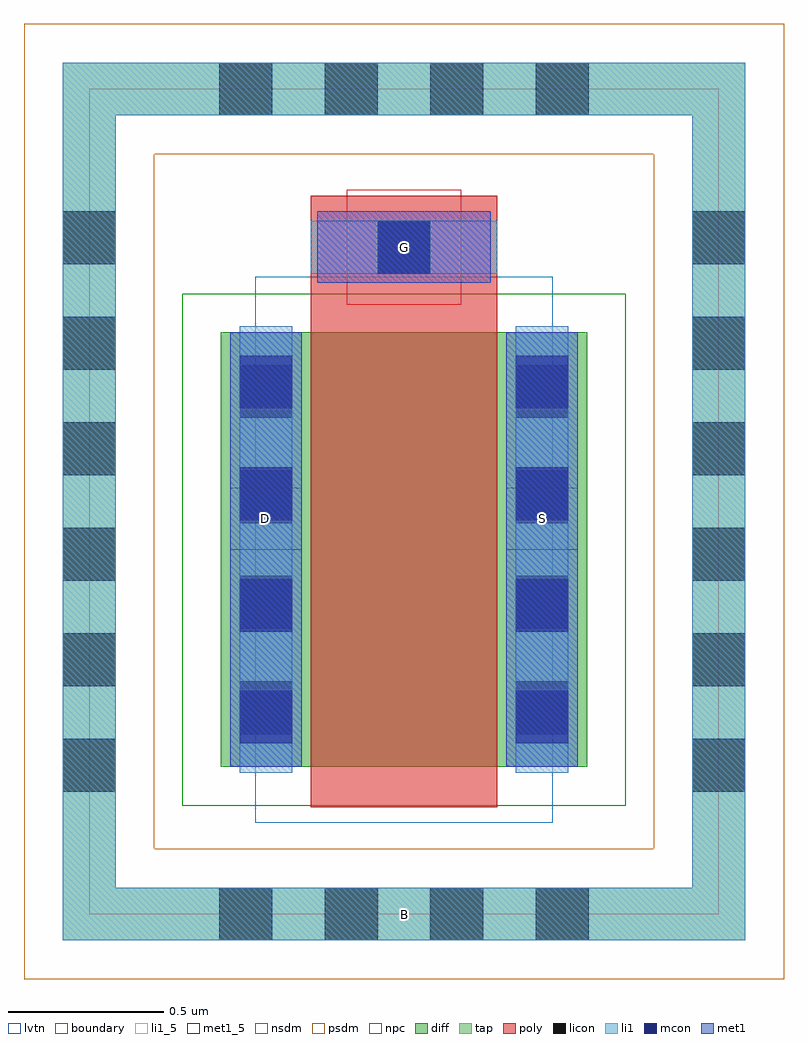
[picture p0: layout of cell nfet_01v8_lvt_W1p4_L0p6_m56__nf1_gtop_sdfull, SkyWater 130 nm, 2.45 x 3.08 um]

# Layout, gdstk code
import gdstk
lib = gdstk.Library(unit=1e-6, precision=1e-09)
def R(c, l, rs):  # rectangles x0, y0, x1, y1
    for r in rs: c.add(gdstk.rectangle(r[:2], r[2:], *l))
def A(c, l, x, y, w, h, nx, ny, dx, dy):  # array of equal rectangles
    R(c, l, [(x+i*dx, y+j*dy, x+i*dx+w, y+j*dy+h) for i in range(nx) for j in range(ny)])
diff = (65, 20)
tap = (65, 44)
poly = (66, 20)
licon = (66, 44)
li1_5 = (67, 5)
li1 = (67, 20)
mcon = (67, 44)
met1_5 = (68, 5)
met1 = (68, 20)
nsdm = (93, 44)
psdm = (94, 20)
npc = (95, 20)
lvtn = (125, 44)
boundary = (235, 4)

sky130_fd_pr__nfet_01v8_ = lib.new_cell('sky130_fd_pr__nfet_01v8_lvt_7BPTAP')
R(sky130_fd_pr__nfet_01v8_, diff, [(-0.59,-0.855,0.59,0.545)])
R(sky130_fd_pr__nfet_01v8_, tap, [(-1.1,-1.415,1.1,-1.245), (-1.1,-1.245,-0.93,1.245), (0.93,-1.245,1.1,1.245), (-1.1,1.245,1.1,1.415)])
R(sky130_fd_pr__nfet_01v8_, poly, [(-0.3,-0.985,0.3,0.985)])
A(sky130_fd_pr__nfet_01v8_, licon, -0.595, -1.415, 0.17, 0.17, 4, 2, 0.34, 2.66)
A(sky130_fd_pr__nfet_01v8_, licon, -1.1, -0.935, 0.17, 0.17, 1, 6, 0, 0.34)
A(sky130_fd_pr__nfet_01v8_, licon, 0.93, -0.935, 0.17, 0.17, 1, 6, 0, 0.34)
A(sky130_fd_pr__nfet_01v8_, licon, -0.53, -0.75, 0.17, 0.17, 1, 4, 0, 0.34)
A(sky130_fd_pr__nfet_01v8_, licon, 0.36, -0.75, 0.17, 0.17, 1, 4, 0, 0.34)
R(sky130_fd_pr__nfet_01v8_, licon, [(-0.085,0.735,0.085,0.905)])
R(sky130_fd_pr__nfet_01v8_, li1, [(-1.1,-1.415,1.1,-1.245), (-1.1,-1.245,-0.93,1.245), (0.93,-1.245,1.1,1.245), (-0.53,-0.875,-0.36,0.565), (0.36,-0.875,0.53,0.565), (-0.3,0.735,0.3,0.905), (-1.1,1.245,1.1,1.415)])
A(sky130_fd_pr__nfet_01v8_, mcon, -0.53, -0.78, 0.17, 0.17, 1, 4, 0, 0.36)
A(sky130_fd_pr__nfet_01v8_, mcon, 0.36, -0.78, 0.17, 0.17, 1, 4, 0, 0.36)
R(sky130_fd_pr__nfet_01v8_, mcon, [(-0.085,0.735,0.085,0.905)])
R(sky130_fd_pr__nfet_01v8_, met1, [(-0.56,-0.855,-0.33,0.545), (0.33,-0.855,0.56,0.545), (-0.28,0.705,0.28,0.935)])
R(sky130_fd_pr__nfet_01v8_, nsdm, [(-0.715,-0.98,0.715,0.67)])
R(sky130_fd_pr__nfet_01v8_, psdm, [(-1.225,-1.54,1.225,-1.12), (-1.225,-1.12,-0.805,1.12), (0.805,-1.12,1.225,1.12), (-1.225,1.12,1.225,1.54)])
R(sky130_fd_pr__nfet_01v8_, npc, [(-0.185,0.635,0.185,1.005)])
R(sky130_fd_pr__nfet_01v8_, lvtn, [(-0.48,-1.035,0.48,0.725)])
R(sky130_fd_pr__nfet_01v8_, boundary, [(-1.015,-1.33,1.015,1.33)])
sky130_fd_pr__nfet_01v8_.add(gdstk.Label('B', (0,-1.33), layer=67, texttype=5))
sky130_fd_pr__nfet_01v8_.add(gdstk.Label('D', (-0.445,-0.155), layer=67, texttype=5))
sky130_fd_pr__nfet_01v8_.add(gdstk.Label('S', (0.445,-0.155), layer=67, texttype=5))
sky130_fd_pr__nfet_01v8_.add(gdstk.Label('G', (0,0.82), layer=67, texttype=5))

nfet_01v8_lvt_w1p4_l0p6_ = lib.new_cell('nfet_01v8_lvt_W1p4_L0p6_m56__nf1_gtop_sdfull')
R(nfet_01v8_lvt_w1p4_l0p6_, li1_5, [(0.93,-0.085,1.1,0.085)])
R(nfet_01v8_lvt_w1p4_l0p6_, li1, [(0.93,-0.085,1.1,0.085)])
R(nfet_01v8_lvt_w1p4_l0p6_, met1_5, [(0.455,1.175,0.685,1.375), (1.345,1.175,1.575,1.375), (0.735,2.035,1.295,2.265)])
R(nfet_01v8_lvt_w1p4_l0p6_, met1, [(0.455,1.175,0.685,1.375), (1.345,1.175,1.575,1.375), (0.735,2.035,1.295,2.265)])
nfet_01v8_lvt_w1p4_l0p6_.add(gdstk.Reference(sky130_fd_pr__nfet_01v8_, (1.015,1.33)))
nfet_01v8_lvt_w1p4_l0p6_.add(gdstk.Label('D', (0.57,1.275), layer=68, texttype=5))
nfet_01v8_lvt_w1p4_l0p6_.add(gdstk.Label('S', (1.46,1.275), layer=68, texttype=5))
nfet_01v8_lvt_w1p4_l0p6_.add(gdstk.Label('G', (1.015,2.15), layer=68, texttype=5))
nfet_01v8_lvt_w1p4_l0p6_.add(gdstk.Label('B', (1.015,0), layer=67, texttype=5))

lib.write_gds('nfet_01v8_lvt_W1p4_L0p6_m56__nf1_gtop_sdfull.gds')
